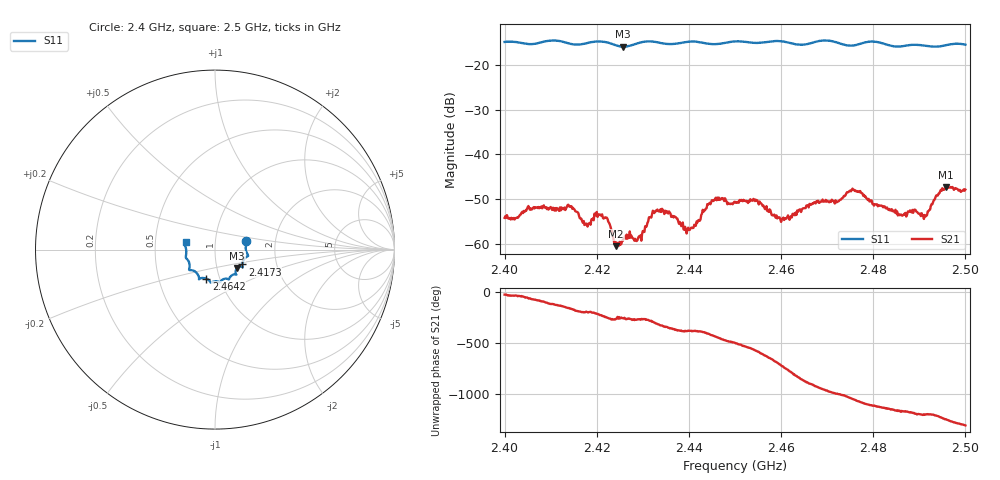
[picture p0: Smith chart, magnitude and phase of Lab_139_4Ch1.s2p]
# Hz S RI R 50
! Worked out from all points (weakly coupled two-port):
!   601 points, 2.4 GHz to 2.5 GHz, reference 50 ohm
!   highest |S21| = -47.29 dB at 2.4958 GHz (marker M1); lowest = -60.6 dB at 2.4242 GHz (marker M2)
!   lowest |S11| = -15.9 dB at 2.4257 GHz (marker M3), VSWR 1.38, Z = 62.5 - j13.2 ohm
!   |S11| at or under -10 dB: start of sweep to end of sweep
!   S12 and S22 are empty: the file has one direction only
!   S11 on the Smith chart (normalised r, x): 2.4 GHz: 1.41, +0.14; 2.4173 GHz: 1.34, -0.23; 2.4642 GHz: 0.86, -0.29; 2.5 GHz: 0.72, +0.06
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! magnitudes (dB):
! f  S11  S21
! 2.4 GHz  -14.8  -54.2
! 2.414 GHz  -15.2  -51.7
! 2.4167 GHz  -15.4  -54.5
! 2.4173 GHz  -15.2  -55.8
! 2.4217 GHz  -14.8  -54.2
! 2.4242 GHz  -15.6  -60.6
! 2.4257 GHz  -15.9  -59.3
! 2.4292 GHz  -15.1  -58.3
! 2.4333 GHz  -15.0  -52.6
! 2.4398 GHz  -14.8  -56.4
! 2.4453 GHz  -15.3  -50.4
! 2.45 GHz  -14.7  -50.6
! 2.4545 GHz  -15.1  -50.1
! 2.4603 GHz  -14.7  -54.3
! 2.4642 GHz  -15.5  -52.3
! 2.4667 GHz  -15.1  -51.2
! 2.4722 GHz  -15.0  -50.7
! 2.4758 GHz  -15.6  -47.9
! 2.4833 GHz  -15.6  -52.5
! 2.4912 GHz  -15.7  -53.6
! 2.4958 GHz  -15.6  -47.3
! 2.5 GHz  -15.5  -47.9
